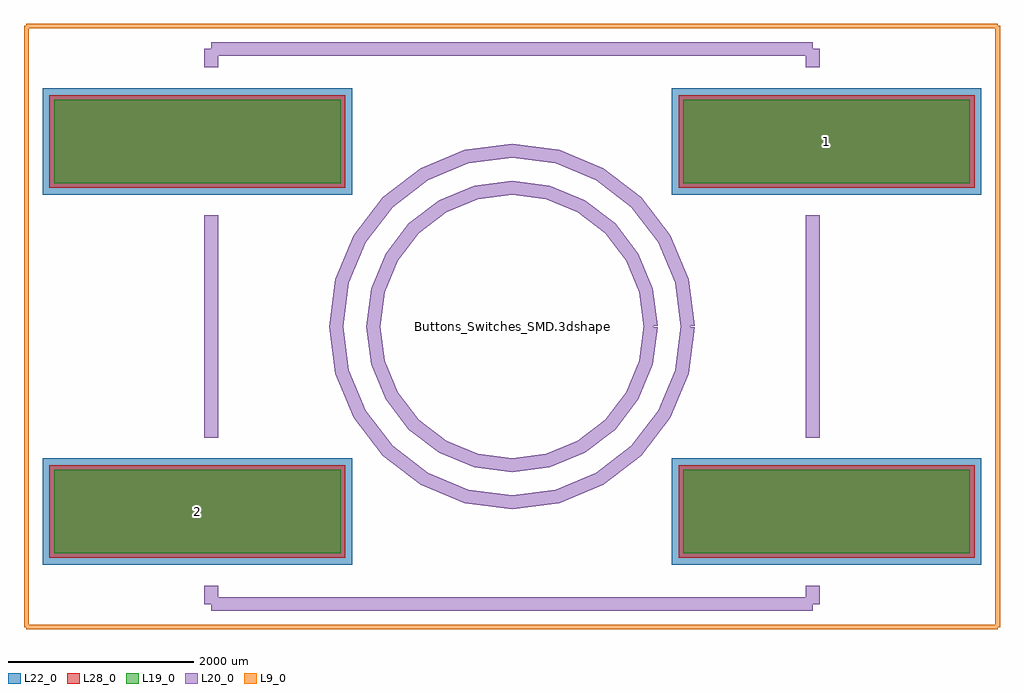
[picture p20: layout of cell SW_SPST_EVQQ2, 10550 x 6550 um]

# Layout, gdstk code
import gdstk
lib = gdstk.Library(unit=1e-6, precision=1e-09)
def R(c, l, rs):  # rectangles x0, y0, x1, y1
    for r in rs: c.add(gdstk.rectangle(r[:2], r[2:], *l))
L9_0 = (9, 0)
L19_0 = (19, 0)
L20_0 = (20, 0)
L22_0 = (22, 0)
L28_0 = (28, 0)

sw_spst_evqq2 = lib.new_cell('SW_SPST_EVQQ2')
R(sw_spst_evqq2, L19_0, [(-4950,-2450,-1850,-1550), (1850,-2450,4950,-1550), (-4950,1550,-1850,2450), (1850,1550,4950,2450)])
R(sw_spst_evqq2, L22_0, [(-5075,-2575,-1725,-1425), (1725,-2575,5075,-1425), (-5075,1425,-1725,2575), (1725,1425,5075,2575)])
R(sw_spst_evqq2, L28_0, [(-5000,-2500,-1800,-1500), (1800,-2500,5000,-1500), (-5000,1500,-1800,2500), (1800,1500,5000,2500)])
sw_spst_evqq2.add(gdstk.FlexPath([(1500,0),(1448.889,388.229),(1299.038,750),(1060.66,1060.66),(750,1299.038),(388.229,1448.889),(0,1500),(-388.229,1448.889),(-750,1299.038),(-1060.66,1060.66),(-1299.038,750),(-1448.889,388.229),(-1500,0),(-1448.889,-388.229),(-1299.038,-750),(-1060.66,-1060.66),(-750,-1299.038),(-388.229,-1448.889),(0,-1500),(388.229,-1448.889),(750,-1299.038),(1060.66,-1060.66),(1299.038,-750),(1448.889,-388.229),(1500,0)], 149.998, ends="flush", simple_path=True, layer=20, datatype=0))  # L20_0
sw_spst_evqq2.add(gdstk.FlexPath([(1900,0),(1835.259,491.756),(1645.448,950),(1343.503,1343.503),(950,1645.448),(491.756,1835.259),(0,1900),(-491.756,1835.259),(-950,1645.448),(-1343.503,1343.503),(-1645.448,950),(-1835.259,491.756),(-1900,0),(-1835.259,-491.756),(-1645.448,-950),(-1343.503,-1343.503),(-950,-1645.448),(-491.756,-1835.259),(0,-1900),(491.756,-1835.259),(950,-1645.448),(1343.503,-1343.503),(1645.448,-950),(1835.259,-491.756),(1900,0)], 149.998, ends="flush", simple_path=True, layer=20, datatype=0))  # L20_0
sw_spst_evqq2.add(gdstk.FlexPath([(-3250,-3000),(3250,-3000)], 149.998, ends="flush", simple_path=True, layer=20, datatype=0))  # L20_0
sw_spst_evqq2.add(gdstk.FlexPath([(3250,3000),(-3250,3000)], 149.998, ends="flush", simple_path=True, layer=20, datatype=0))  # L20_0
sw_spst_evqq2.add(gdstk.FlexPath([(3250,1200),(3250,-1200)], 149.998, ends="flush", simple_path=True, layer=20, datatype=0))  # L20_0
sw_spst_evqq2.add(gdstk.FlexPath([(-3250,1200),(-3250,-1200)], 149.998, ends="flush", simple_path=True, layer=20, datatype=0))  # L20_0
sw_spst_evqq2.add(gdstk.FlexPath([(-3250,3000),(-3250,2800)], 149.998, ends="flush", simple_path=True, layer=20, datatype=0))  # L20_0
sw_spst_evqq2.add(gdstk.FlexPath([(-3250,-3000),(-3250,-2800)], 149.998, ends="flush", simple_path=True, layer=20, datatype=0))  # L20_0
sw_spst_evqq2.add(gdstk.FlexPath([(3250,-3000),(3250,-2800)], 149.998, ends="flush", simple_path=True, layer=20, datatype=0))  # L20_0
sw_spst_evqq2.add(gdstk.FlexPath([(3250,3000),(3250,2800)], 149.998, ends="flush", simple_path=True, layer=20, datatype=0))  # L20_0
sw_spst_evqq2.add(gdstk.FlexPath([(-5250,-3250),(-5250,3250)], 50, ends="flush", simple_path=True, layer=9, datatype=0))  # L9_0
sw_spst_evqq2.add(gdstk.FlexPath([(5250,-3250),(-5250,-3250)], 50, ends="flush", simple_path=True, layer=9, datatype=0))  # L9_0
sw_spst_evqq2.add(gdstk.FlexPath([(5250,3250),(5250,-3250)], 50, ends="flush", simple_path=True, layer=9, datatype=0))  # L9_0
sw_spst_evqq2.add(gdstk.FlexPath([(-5250,3250),(5250,3250)], 50, ends="flush", simple_path=True, layer=9, datatype=0))  # L9_0
sw_spst_evqq2.add(gdstk.Label('Buttons_Switches_SMD.3dshapes/SW_SPST_EVQQ2_02W.wrl', (0,0), layer=12, texttype=0))
sw_spst_evqq2.add(gdstk.Label('2', (-3400,-2000), layer=28, texttype=0))
sw_spst_evqq2.add(gdstk.Label('1', (3400,2000), layer=28, texttype=0))
sw_spst_evqq2.add(gdstk.Label('type', (0,-4250), layer=9, texttype=0))
sw_spst_evqq2.add(gdstk.Label('devicename', (-1000,4000), layer=9, texttype=0))

lib.write_gds('SW_SPST_EVQQ2.gds')
